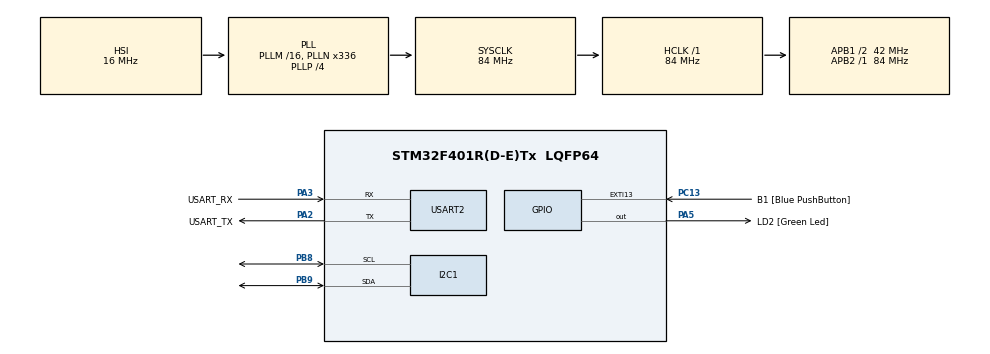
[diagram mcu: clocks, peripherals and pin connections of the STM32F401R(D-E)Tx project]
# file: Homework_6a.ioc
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Mcu.Family=STM32F4
Mcu.Name=STM32F401R(D-E)Tx
Mcu.Package=LQFP64
NVIC.PriorityGroup=NVIC_PRIORITYGROUP_0
NVIC.TIM2_IRQn=true\:0\:0\:false\:false\:true\:true\:true\:true
PA13.GPIO_Label=TMS
PA13.Mode=Serial_Wire
PA13.Signal=SYS_JTMS-SWDIO
PA14.GPIO_Label=TCK
PA14.Mode=Serial_Wire
PA14.Signal=SYS_JTCK-SWCLK
PA2.GPIO_Label=USART_TX
PA2.GPIO_Mode=GPIO_MODE_AF_PP
PA2.GPIO_PuPd=GPIO_NOPULL
PA2.GPIO_Speed=GPIO_SPEED_FREQ_LOW
PA2.Mode=Asynchronous
PA2.Signal=USART2_TX
PA3.GPIO_Label=USART_RX
PA3.GPIO_Mode=GPIO_MODE_AF_PP
PA3.GPIO_PuPd=GPIO_NOPULL
PA3.GPIO_Speed=GPIO_SPEED_FREQ_LOW
PA3.Mode=Asynchronous
PA3.Signal=USART2_RX
PA5.GPIO_Label=LD2 [Green Led]
PA5.GPIO_Mode=GPIO_MODE_OUTPUT_PP
PA5.GPIO_PuPd=GPIO_NOPULL
PA5.GPIO_Speed=GPIO_SPEED_FREQ_LOW
PA5.Signal=GPIO_Output
PB3.GPIO_Label=SWO
PB3.Signal=SYS_JTDO-SWO
PB8.Mode=I2C
PB8.Signal=I2C1_SCL
PB9.Mode=I2C
PB9.Signal=I2C1_SDA
PC13-ANTI_TAMP.GPIO_Label=B1 [Blue PushButton]
PC13-ANTI_TAMP.GPIO_ModeDefaultEXTI=GPIO_MODE_IT_FALLING
PC13-ANTI_TAMP.GPIO_PuPd=GPIO_NOPULL
PC13-ANTI_TAMP.Signal=GPXTI13
PC14-OSC32_IN.Mode=LSE-External-Oscillator
PC14-OSC32_IN.Signal=RCC_OSC32_IN
PC15-OSC32_OUT.Mode=LSE-External-Oscillator
PC15-OSC32_OUT.Signal=RCC_OSC32_OUT
PH0\ -\ OSC_IN.Mode=HSE-External-Clock-Source
PH0\ -\ OSC_IN.Signal=RCC_OSC_IN
PH1\ -\ OSC_OUT.Mode=HSE-External-Clock-Source
PH1\ -\ OSC_OUT.Signal=RCC_OSC_OUT
ProjectManager.HeapSize=0x200
ProjectManager.StackSize=0x400
ProjectManager.TargetToolchain=STM32CubeIDE
RCC.48MHZClocksFreq_Value=48000000
RCC.AHBFreq_Value=84000000
RCC.APB1CLKDivider=RCC_HCLK_DIV2
RCC.APB1Freq_Value=42000000
RCC.APB1TimFreq_Value=84000000
RCC.APB2Freq_Value=84000000
RCC.APB2TimFreq_Value=84000000
RCC.CortexFreq_Value=84000000
RCC.HCLKFreq_Value=84000000
RCC.HSE_VALUE=8000000
RCC.HSI_VALUE=16000000
RCC.PLLN=336
RCC.PLLP=RCC_PLLP_DIV4
RCC.PLLQ=7
RCC.SYSCLKFreq_VALUE=84000000
RCC.SYSCLKSource=RCC_SYSCLKSOURCE_PLLCLK
RCC.VCOOutputFreq_Value=336000000
TIM2.Period=10000-1
TIM2.Prescaler=8400-1
USART2.VirtualMode=VM_ASYNC
VP_TIM2_VS_ClockSourceINT.Mode=Internal
board=NUCLEO-F401RE

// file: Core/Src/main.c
/* USER CODE BEGIN Header */
/**
  ******************************************************************************
  * @file           : main.c
  * @brief          : Main program body
  ******************************************************************************
  * @attention
  *
  * Copyright (c) 2023 STMicroelectronics.
  * All rights reserved.
  *
  * This software is licensed under terms that can be found in the LICENSE file
  * in the root directory of this software component.
  * If no LICENSE file comes with this software, it is provided AS-IS.
  *
  ******************************************************************************
  */
/* USER CODE END Header */
#include "main.h"

/* USER CODE BEGIN Includes */
#include "stdio.h"
#include "string.h"
/* USER CODE END Includes */

I2C_HandleTypeDef hi2c1;

TIM_HandleTypeDef htim2;

UART_HandleTypeDef huart2;

/* USER CODE BEGIN PV */
uint8_t LM75_ADDRESS = 0b10010000;
uint8_t LM75_TEMP_ADDRESS = 0x00;

void HAL_TIM_PeriodElapsedCallback (TIM_HandleTypeDef *htim) {
	 int8_t received_value_1[2], received_value_2[2], received_value_3[2];
	 float temperature_1, temperature_3;
	 int len = 0;
	 char str[32];

	 // 1st read
	 if (HAL_I2C_Master_Receive(&hi2c1, LM75_ADDRESS+1, (uint8_t *)received_value_1, 2, 20) == HAL_OK) {

		 // 2nd read
		 if (HAL_I2C_Master_Receive(&hi2c1, LM75_ADDRESS+1, (uint8_t *)received_value_2, 2, 20) == HAL_OK) {

			 // bug check
			 if (received_value_1[0] == received_value_2[0] && received_value_1[1] == received_value_2[1]) {
				 // no bug
				 temperature_1 = received_value_1[0] + (float)((uint8_t)(received_value_1[1])) / 256;
				 len = snprintf(str, sizeof(str), "Temperature = %.3f °C\r\n", temperature_1);

			 } else {
				 // bug, 3rd read
				 if (HAL_I2C_Master_Receive(&hi2c1, LM75_ADDRESS+1, (uint8_t *)received_value_3, 2, 20) == HAL_OK) {
					 temperature_3 = received_value_3[0] + (float)((uint8_t)(received_value_3[1])) / 256;
					 len = snprintf(str, sizeof(str), "Temperature = %.3f °C\r\n", temperature_3);

				 // 3rd acquisition error routine
				 } else {
					 len = snprintf(str, sizeof(str), "Error reading from LM75\r\n");
				 }
			 }

		 // 2nd conversion error routine
		 } else {
			 len = snprintf(str, sizeof(str), "Error reading from LM75\r\n");
		 }

	 // 1st conversion error routine
	 } else {
		 len = snprintf(str, sizeof(str), "Error reading from LM75\r\n"); // error routine to distinguish bw 0°C and 0 as error response
	 }

	 HAL_UART_Transmit(&huart2, (uint8_t *)str, len, 100);
}
/* USER CODE END PV */

void SystemClock_Config(void);
static void MX_GPIO_Init(void);
static void MX_USART2_UART_Init(void);
static void MX_I2C1_Init(void);
static void MX_TIM2_Init(void);

int main(void)
{

  /* MCU Configuration--------------------------------------------------------*/

  /* Reset of all peripherals, Initializes the Flash interface and the Systick. */
  HAL_Init();

  /* Configure the system clock */
  SystemClock_Config();

  /* Initialize all configured peripherals */
  MX_GPIO_Init();
  MX_USART2_UART_Init();
  MX_I2C1_Init();
  MX_TIM2_Init();
  /* USER CODE BEGIN 2 */
  HAL_I2C_Master_Transmit(&hi2c1, LM75_ADDRESS, &LM75_TEMP_ADDRESS, 1, 10);
  __HAL_TIM_CLEAR_FLAG(&htim2, TIM_FLAG_UPDATE);
  HAL_TIM_Base_Start_IT(&htim2);
  /* USER CODE END 2 */

  /* Infinite loop */
  while (1)
  {

  }
}

void SystemClock_Config(void)
{
  RCC_OscInitTypeDef RCC_OscInitStruct = {0};
  RCC_ClkInitTypeDef RCC_ClkInitStruct = {0};

  /** Configure the main internal regulator output voltage
  */
  __HAL_RCC_PWR_CLK_ENABLE();
  __HAL_PWR_VOLTAGESCALING_CONFIG(PWR_REGULATOR_VOLTAGE_SCALE2);

  /** Initializes the RCC Oscillators according to the specified parameters
  * in the RCC_OscInitTypeDef structure.
  */
  RCC_OscInitStruct.OscillatorType = RCC_OSCILLATORTYPE_HSI;
  RCC_OscInitStruct.HSIState = RCC_HSI_ON;
  RCC_OscInitStruct.HSICalibrationValue = RCC_HSICALIBRATION_DEFAULT;
  RCC_OscInitStruct.PLL.PLLState = RCC_PLL_ON;
  RCC_OscInitStruct.PLL.PLLSource = RCC_PLLSOURCE_HSI;
  RCC_OscInitStruct.PLL.PLLM = 16;
  RCC_OscInitStruct.PLL.PLLN = 336;
  RCC_OscInitStruct.PLL.PLLP = RCC_PLLP_DIV4;
  RCC_OscInitStruct.PLL.PLLQ = 7;
  if (HAL_RCC_OscConfig(&RCC_OscInitStruct) != HAL_OK)
  {
    Error_Handler();
  }

  /** Initializes the CPU, AHB and APB buses clocks
  */
  RCC_ClkInitStruct.ClockType = RCC_CLOCKTYPE_HCLK|RCC_CLOCKTYPE_SYSCLK
                              |RCC_CLOCKTYPE_PCLK1|RCC_CLOCKTYPE_PCLK2;
  RCC_ClkInitStruct.SYSCLKSource = RCC_SYSCLKSOURCE_PLLCLK;
  RCC_ClkInitStruct.AHBCLKDivider = RCC_SYSCLK_DIV1;
  RCC_ClkInitStruct.APB1CLKDivider = RCC_HCLK_DIV2;
  RCC_ClkInitStruct.APB2CLKDivider = RCC_HCLK_DIV1;

  if (HAL_RCC_ClockConfig(&RCC_ClkInitStruct, FLASH_LATENCY_2) != HAL_OK)
  {
    Error_Handler();
  }
}

static void MX_I2C1_Init(void)
{

  hi2c1.Instance = I2C1;
  hi2c1.Init.ClockSpeed = 100000;
  hi2c1.Init.DutyCycle = I2C_DUTYCYCLE_2;
  hi2c1.Init.OwnAddress1 = 0;
  hi2c1.Init.AddressingMode = I2C_ADDRESSINGMODE_7BIT;
  hi2c1.Init.DualAddressMode = I2C_DUALADDRESS_DISABLE;
  hi2c1.Init.OwnAddress2 = 0;
  hi2c1.Init.GeneralCallMode = I2C_GENERALCALL_DISABLE;
  hi2c1.Init.NoStretchMode = I2C_NOSTRETCH_DISABLE;
  if (HAL_I2C_Init(&hi2c1) != HAL_OK)
  {
    Error_Handler();
  }

}

static void MX_TIM2_Init(void)
{

  TIM_ClockConfigTypeDef sClockSourceConfig = {0};
  TIM_MasterConfigTypeDef sMasterConfig = {0};

  htim2.Instance = TIM2;
  htim2.Init.Prescaler = 8400-1;
  htim2.Init.CounterMode = TIM_COUNTERMODE_UP;
  htim2.Init.Period = 10000-1;
  htim2.Init.ClockDivision = TIM_CLOCKDIVISION_DIV1;
  htim2.Init.AutoReloadPreload = TIM_AUTORELOAD_PRELOAD_DISABLE;
  if (HAL_TIM_Base_Init(&htim2) != HAL_OK)
  {
    Error_Handler();
  }
  sClockSourceConfig.ClockSource = TIM_CLOCKSOURCE_INTERNAL;
  if (HAL_TIM_ConfigClockSource(&htim2, &sClockSourceConfig) != HAL_OK)
  {
    Error_Handler();
  }
  sMasterConfig.MasterOutputTrigger = TIM_TRGO_RESET;
  sMasterConfig.MasterSlaveMode = TIM_MASTERSLAVEMODE_DISABLE;
  if (HAL_TIMEx_MasterConfigSynchronization(&htim2, &sMasterConfig) != HAL_OK)
  {
    Error_Handler();
  }

}

static void MX_USART2_UART_Init(void)
{

  huart2.Instance = USART2;
  huart2.Init.BaudRate = 115200;
  huart2.Init.WordLength = UART_WORDLENGTH_8B;
  huart2.Init.StopBits = UART_STOPBITS_1;
  huart2.Init.Parity = UART_PARITY_NONE;
  huart2.Init.Mode = UART_MODE_TX_RX;
  huart2.Init.HwFlowCtl = UART_HWCONTROL_NONE;
  huart2.Init.OverSampling = UART_OVERSAMPLING_16;
  if (HAL_UART_Init(&huart2) != HAL_OK)
  {
    Error_Handler();
  }

}

static void MX_GPIO_Init(void)
{
  GPIO_InitTypeDef GPIO_InitStruct = {0};

  /* GPIO Ports Clock Enable */
  __HAL_RCC_GPIOC_CLK_ENABLE();
  __HAL_RCC_GPIOH_CLK_ENABLE();
  __HAL_RCC_GPIOA_CLK_ENABLE();
  __HAL_RCC_GPIOB_CLK_ENABLE();

  /*Configure GPIO pin Output Level */
  HAL_GPIO_WritePin(LD2_GPIO_Port, LD2_Pin, GPIO_PIN_RESET);

  /*Configure GPIO pin : B1_Pin */
  GPIO_InitStruct.Pin = B1_Pin;
  GPIO_InitStruct.Mode = GPIO_MODE_IT_FALLING;
  GPIO_InitStruct.Pull = GPIO_NOPULL;
  HAL_GPIO_Init(B1_GPIO_Port, &GPIO_InitStruct);

  /*Configure GPIO pin : LD2_Pin */
  GPIO_InitStruct.Pin = LD2_Pin;
  GPIO_InitStruct.Mode = GPIO_MODE_OUTPUT_PP;
  GPIO_InitStruct.Pull = GPIO_NOPULL;
  GPIO_InitStruct.Speed = GPIO_SPEED_FREQ_LOW;
  HAL_GPIO_Init(LD2_GPIO_Port, &GPIO_InitStruct);

}

void Error_Handler(void)
{
  __disable_irq();
  while (1)
  {
  }
}
